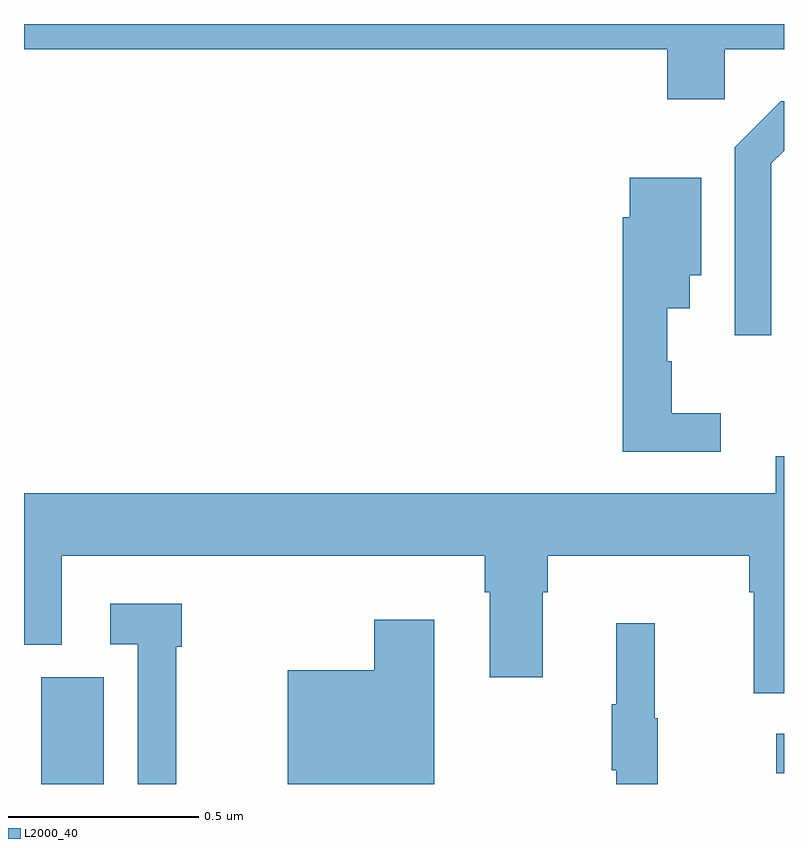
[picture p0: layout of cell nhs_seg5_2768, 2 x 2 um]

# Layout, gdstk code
import gdstk
lib = gdstk.Library(unit=1e-6, precision=1e-09)
def R(c, l, rs):  # rectangles x0, y0, x1, y1
    for r in rs: c.add(gdstk.rectangle(r[:2], r[2:], *l))
def P(c, l, *ps):  # polygons
    for p in ps: c.add(gdstk.Polygon(p, *l))
L2000_40 = (2000, 40)

nhs_seg5_2768 = lib.new_cell('nhs_seg5_2768')
R(nhs_seg5_2768, L2000_40, [(148.046,882.799,148.21,883.08), (149.979,882.827,150,882.931)])
P(nhs_seg5_2768, L2000_40, [(149.844,884.732),(150,884.732),(150,884.799),(148,884.799),(148,884.732),(149.693,884.732),(149.693,884.601),(149.844,884.601)],
  [(149.967,884.433),(150,884.466),(150,884.596),(149.992,884.596),(149.871,884.475),(149.871,883.98),(149.967,883.98)],
  [(149.833,883.775),(149.704,883.775),(149.704,883.911),(149.693,883.911),(149.693,884.051),(149.752,884.051),(149.752,884.138),(149.782,884.138),(149.782,884.395),(149.594,884.395),(149.594,884.291),(149.575,884.291),(149.575,883.674),(149.833,883.674)],
  [(150,883.662),(149.978,883.662),(149.978,883.564),(148,883.564),(148,883.165),(148.099,883.165),(148.099,883.4),(149.213,883.4),(149.213,883.304),(149.225,883.304),(149.225,883.08),(149.365,883.08),(149.365,883.304),(149.378,883.304),(149.378,883.4),(149.909,883.4),(149.909,883.304),(149.921,883.304),(149.921,883.038),(150,883.038)],
  [(148.4,883.16),(148.415,883.16),(148.415,883.273),(148.227,883.273),(148.227,883.167),(148.299,883.167),(148.299,882.799),(148.4,882.799)],
  [(149.08,883.231),(148.922,883.231),(148.922,883.099),(148.694,883.099),(148.694,882.799),(149.08,882.799)],
  [(149.668,882.972),(149.66,882.972),(149.66,883.222),(149.558,883.222),(149.558,883.009),(149.547,883.009),(149.547,882.835),(149.558,882.835),(149.558,882.799),(149.668,882.799)])

lib.write_gds('nhs_seg5_2768.gds')
